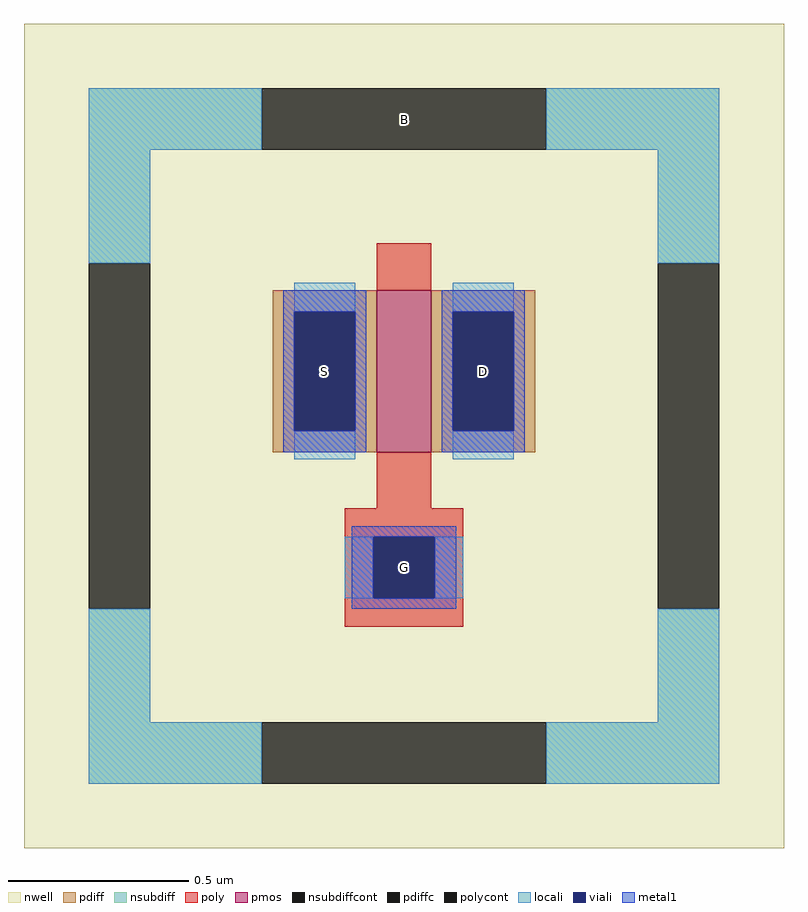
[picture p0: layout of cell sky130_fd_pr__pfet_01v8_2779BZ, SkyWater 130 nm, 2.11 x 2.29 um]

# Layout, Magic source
magic
tech sky130B
magscale 1 2
<< nwell >>
rect -211 -229 211 229
<< pmos >>
rect -15 -9 15 81
<< pdiff >>
rect -73 69 -15 81
rect -73 3 -61 69
rect -27 3 -15 69
rect -73 -9 -15 3
rect 15 69 73 81
rect 15 3 27 69
rect 61 3 73 69
rect 15 -9 73 3
<< pdiffc >>
rect -61 3 -27 69
rect 27 3 61 69
<< nsubdiff >>
rect -175 159 -79 193
rect 79 159 175 193
rect -175 96 -141 159
rect 141 96 175 159
rect -175 -159 -141 -96
rect 141 -159 175 -96
rect -175 -193 -79 -159
rect 79 -193 175 -159
<< nsubdiffcont >>
rect -79 159 79 193
rect -175 -96 -141 96
rect 141 -96 175 96
rect -79 -193 79 -159
<< poly >>
rect -15 81 15 107
rect -15 -40 15 -9
rect -33 -56 33 -40
rect -33 -90 -17 -56
rect 17 -90 33 -56
rect -33 -106 33 -90
<< polycont >>
rect -17 -90 17 -56
<< locali >>
rect -175 159 -79 193
rect 79 159 175 193
rect -175 96 -141 159
rect 141 96 175 159
rect -61 69 -27 85
rect -61 -13 -27 3
rect 27 69 61 85
rect 27 -13 61 3
rect -33 -90 -17 -56
rect 17 -90 33 -56
rect -175 -159 -141 -96
rect 141 -159 175 -96
rect -175 -193 -79 -159
rect 79 -193 175 -159
<< viali >>
rect -61 3 -27 69
rect 27 3 61 69
rect -17 -90 17 -56
<< metal1 >>
rect -67 69 -21 81
rect -67 3 -61 69
rect -27 3 -21 69
rect -67 -9 -21 3
rect 21 69 67 81
rect 21 3 27 69
rect 61 3 67 69
rect 21 -9 67 3
rect -29 -56 29 -50
rect -29 -90 -17 -56
rect 17 -90 29 -56
rect -29 -96 29 -90
<< labels >>
flabel metal1 s -44 36 -44 36 0 FreeSans 480 0 0 0 S
port 0 nsew
flabel metal1 s 44 36 44 36 0 FreeSans 480 0 0 0 D
port 1 nsew
flabel metal1 s 0 -73 0 -73 0 FreeSans 480 0 0 0 G
port 2 nsew
flabel locali s 0 176 0 176 0 FreeSans 480 0 0 0 B
port 3 nsew
<< properties >>
string FIXED_BBOX -158 -176 158 176
string gencell sky130_fd_pr__pfet_01v8
string library sky130
string parameters w 0.45 l 0.15 m 1 nf 1 diffcov 100 polycov 100 guard 1 glc 1 grc 1 gtc 1 gbc 1 tbcov 100 rlcov 100 topc 0 botc 1 poverlap 0 doverlap 1 lmin 0.15 wmin 0.42 compatible {sky130_fd_pr__pfet_01v8  sky130_fd_pr__pfet_01v8_lvt sky130_fd_pr__pfet_01v8_hvt  sky130_fd_pr__pfet_g5v0d10v5} full_metal 1 viasrc 100 viadrn 100 viagate 100 viagb 0 viagr 0 viagl 0 viagt 0
<< end >>
